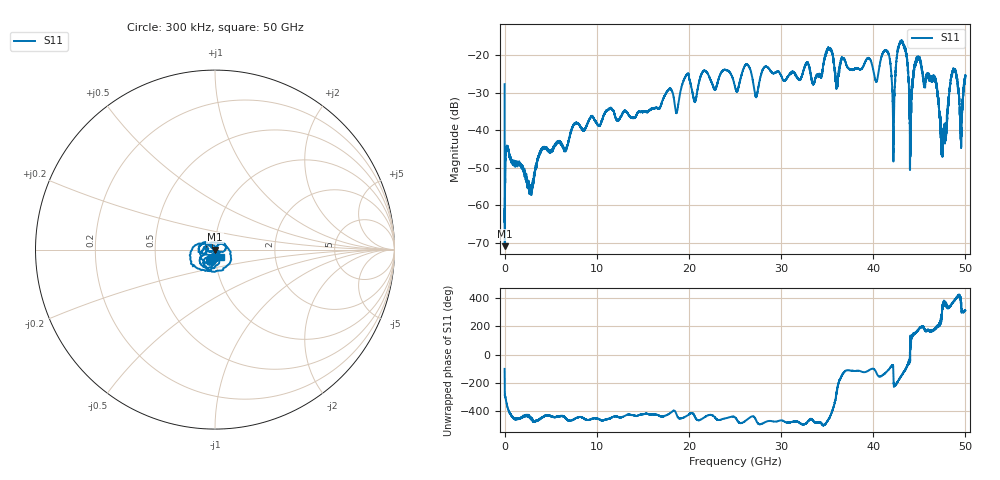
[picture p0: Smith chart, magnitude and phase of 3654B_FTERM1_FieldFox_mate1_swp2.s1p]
!Created with skrf (http://scikit-rf.org).
# Hz S RI R 50.0
!freq ReS11 ImS11
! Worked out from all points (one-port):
!   10001 points, 300 kHz to 50 GHz, reference 50 ohm
!   lowest |S11| = -70.8 dB at 20.3 MHz (marker M1), VSWR 1.00, Z = 50 + j0.0287 ohm
!   |S11| at or under -10 dB: start of sweep to end of sweep
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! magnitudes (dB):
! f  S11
! 300 kHz  -27.8
! 20.3 MHz  -70.8
! 255.3 MHz  -44.3
! 2.785 GHz  -55.1
! 4.035 GHz  -45.1
! 6.25 GHz  -43.8
! 12.5 GHz  -36.8
! 18.75 GHz  -34.5
! 19.75 GHz  -25.2
! 20.62 GHz  -32.3
! 25 GHz  -28.5
! 31.25 GHz  -24.4
! 33.54 GHz  -27.5
! 35.21 GHz  -18.7
! 36.03 GHz  -28.0
! 37.5 GHz  -23.9
! 40.34 GHz  -27.2
! 41.44 GHz  -18.9
! 42.19 GHz  -48.3
! 43.05 GHz  -16.2
! 43.75 GHz  -24.3
! 44.07 GHz  -37.6
! 44.8 GHz  -20.7
! 46.67 GHz  -26.9
! 47.61 GHz  -40.4
! 48.63 GHz  -24.1
! 49.5 GHz  -39.6
! 50 GHz  -25.7
